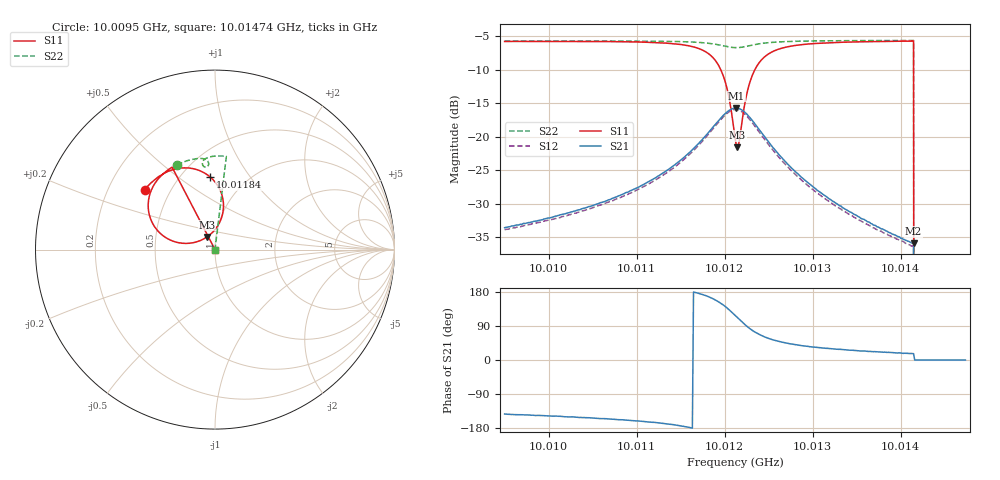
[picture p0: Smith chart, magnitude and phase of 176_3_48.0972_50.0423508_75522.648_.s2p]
#  HZ  S  RI  R  50.00
! Rohde & Schwarz Vector Network Analyzer
! Rohde-Schwarz,ZNB20-2Port,1311601062101988,3.16
! Created: UTC 12/23/2023, 3:52:17 AM
! freq[Hz]  re:S11  im:S11  re:S21  im:S21  re:S12  im:S12  re:S22  im:S22
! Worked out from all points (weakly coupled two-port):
!   401 points, 10.0095 GHz to 10.01474 GHz, reference 50 ohm
!   highest |S21| = -15.70 dB at 10.01213 GHz (marker M1); lowest = -35.9 dB at 10.01415 GHz (marker M2)
!   lowest |S11| = -21.6 dB at 10.01214 GHz (marker M3), VSWR 1.18, Z = 45.3 + j6.45 ohm
!   |S11| at or under -10 dB: 10.01196 GHz to 10.01234 GHz (385.8 kHz wide, 0.00385 % of centre); 10.01415 GHz to end of sweep
!   |S22| runs from - to -5.6 dB; largest |S21 - S12| = 0.0084
!   S11 on the Smith chart (normalised r, x): 10.0095 GHz: 0.36, +0.33; 10.01184 GHz: 0.69, +0.66; 10.01474 GHz: 1.00, +0.00
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1.0009501e10  -0.3912 0.3346  -0.0167 -0.0128  -0.0155 -0.0131  -0.2117 0.4727
1.0010378e10  -0.3364 0.3896  -0.0257 -0.0138  -0.024 -0.0144  -0.1571 0.4941
1.0011254e10  -0.2351 0.4453  -0.0499 -0.0124  -0.0474 -0.0143  -0.0952 0.508
1.0011634e10  -0.131 0.4526  -0.0801 -0.000304  -0.0773 -0.00436  -0.0624 0.5059
1.0011843e10  -0.0256 0.4034  -0.1088 0.0303  -0.1072 0.0238  -0.0424 0.4947
1.0011935e10  0.0255 0.3374  -0.1184 0.0606  -0.1184 0.0528  -0.036 0.4841
1.0012e10  0.0467 0.262  -0.1174 0.09  -0.1184 0.0825  -0.0354 0.4742
1.0012053e10  0.0399 0.1882  -0.1061 0.1169  -0.1085 0.1096  -0.039 0.4665
1.0012118e10  -0.0114 0.0983  -0.0767 0.145  -0.0806 0.138  -0.0483 0.4603
1.0012131e10  -0.0272 0.0839  -0.0692 0.1487  -0.073 0.1423  -0.0507 0.4598
1.0012144e10  -0.0443 0.0707  -0.0614 0.1518  -0.0652 0.1454  -0.0529 0.4598
1.0012171e10  -0.0822 0.0502  -0.0458 0.1554  -0.0489 0.1496  -0.0575 0.4607
1.0012236e10  -0.1826 0.0354  -0.00647 0.1513  -0.0112 0.1461  -0.0663 0.467
1.0012275e10  -0.2358 0.0476  0.0128 0.1418  0.00775 0.1371  -0.0692 0.4727
1.0012393e10  -0.3351 0.1254  0.0431 0.1049  0.0379 0.1019  -0.0683 0.4896
1.0012602e10  -0.3724 0.2496  0.0488 0.0581  0.0441 0.0572  -0.0518 0.5075
1.0012995e10  -0.3406 0.3593  0.0354 0.0243  0.0324 0.0248  -0.0187 0.5184
1.0013872e10  -0.2609 0.4446  0.0182 0.00665  0.0169 0.00724  0.0448 0.5211
1.0014121e10  -0.2411 0.458  0.0155 0.00479  0.0144 0.00533  0.0615 0.5199
1.0014147e10  -0.2392 0.4593  0.0154 0.00462  0.0144 0.00516  0.0632 0.5196
1.0014186e10  0 0  0 0  0 0  0 0
1.0014736e10  0 0  0 0  0 0  0 0
